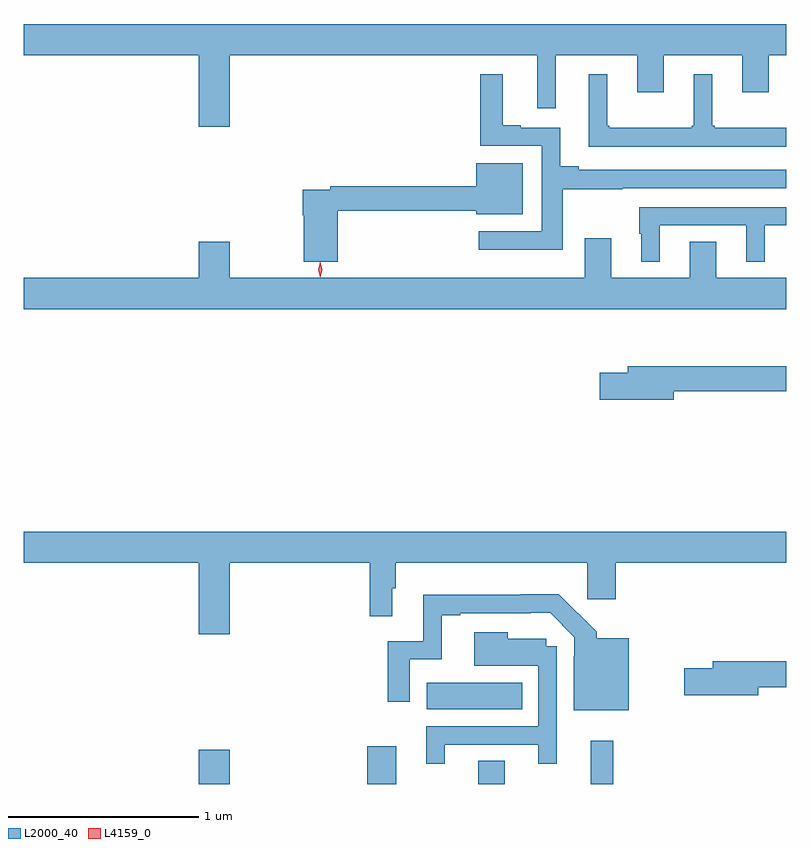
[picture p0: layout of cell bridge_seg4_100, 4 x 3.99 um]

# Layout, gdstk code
import gdstk
lib = gdstk.Library(unit=1e-6, precision=1e-09)
def R(c, l, rs):  # rectangles x0, y0, x1, y1
    for r in rs: c.add(gdstk.rectangle(r[:2], r[2:], *l))
def P(c, l, *ps):  # polygons
    for p in ps: c.add(gdstk.Polygon(p, *l))
L2000_40 = (2000, 40)
L4159_0 = (4159, 0)

bridge_seg4_100 = lib.new_cell('bridge_seg4_100')
R(bridge_seg4_100, L2000_40, [(392.78,800.988,392.944,801.169), (393.665,800.988,393.817,801.187), (394.247,800.988,394.387,801.11), (394.838,800.988,394.955,801.214), (393.978,801.38,394.478,801.52)])
P(bridge_seg4_100, L2000_40, [(392.944,804.812),(394.556,804.812),(394.556,804.534),(394.654,804.534),(394.654,804.812),(395.081,804.812),(395.081,804.618),(395.221,804.618),(395.221,804.812),(395.633,804.812),(395.633,804.618),(395.773,804.618),(395.773,804.812),(395.863,804.812),(395.863,804.976),(391.863,804.976),(391.863,804.812),(392.78,804.812),(392.78,804.438),(392.944,804.438)],
  [(395.863,804.431),(395.488,804.431),(395.488,804.442),(395.476,804.442),(395.476,804.712),(395.378,804.712),(395.378,804.442),(395.367,804.442),(395.367,804.431),(394.936,804.431),(394.936,804.442),(394.924,804.442),(394.924,804.712),(394.826,804.712),(394.826,804.333),(395.863,804.333)],
  [(394.69,804.109),(395.006,804.109),(395.006,804.114),(395.863,804.114),(395.863,804.21),(394.774,804.21),(394.774,804.23),(394.678,804.23),(394.678,804.432),(394.471,804.432),(394.471,804.445),(394.375,804.445),(394.375,804.712),(394.257,804.712),(394.257,804.336),(394.581,804.336),(394.581,803.889),(394.251,803.889),(394.251,803.792),(394.69,803.792)],
  [(393.509,803.997),(394.238,803.997),(394.238,803.978),(394.48,803.978),(394.48,804.244),(394.238,804.244),(394.238,804.125),(393.472,804.125),(393.472,804.105),(393.326,804.105),(393.326,803.972),(393.331,803.972),(393.331,803.729),(393.509,803.729)],
  [(395.2,803.919),(395.654,803.919),(395.654,803.729),(395.752,803.729),(395.752,803.919),(395.863,803.919),(395.863,804.015),(395.091,804.015),(395.091,803.876),(395.102,803.876),(395.102,803.729),(395.2,803.729)],
  [(395.863,803.644),(395.497,803.644),(395.497,803.834),(395.357,803.834),(395.357,803.644),(394.945,803.644),(394.945,803.851),(394.805,803.851),(394.805,803.644),(392.944,803.644),(392.944,803.833),(392.78,803.833),(392.78,803.644),(391.863,803.644),(391.863,803.48),(395.863,803.48)],
  [(395.272,803.05),(395.863,803.05),(395.863,803.179),(395.033,803.179),(395.033,803.145),(394.884,803.145),(394.884,803.003),(395.272,803.003)],
  [(392.944,802.148),(393.679,802.148),(393.679,801.867),(393.796,801.867),(393.796,802.016),(393.815,802.016),(393.815,802.148),(394.819,802.148),(394.819,801.957),(394.97,801.957),(394.97,802.148),(395.863,802.148),(395.863,802.312),(391.863,802.312),(391.863,802.148),(392.78,802.148),(392.78,801.774),(392.944,801.774)],
  [(395.038,801.754),(394.868,801.754),(394.868,801.787),(394.67,801.985),(394.471,801.985),(394.471,801.982),(393.959,801.982),(393.959,801.738),(393.772,801.738),(393.772,801.42),(393.888,801.42),(393.888,801.642),(394.057,801.642),(394.057,801.873),(394.153,801.873),(394.153,801.885),(394.523,801.885),(394.523,801.887),(394.625,801.887),(394.752,801.759),(394.752,801.659),(394.748,801.659),(394.748,801.374),(395.038,801.374)],
  [(394.072,801.195),(394.562,801.195),(394.562,801.093),(394.659,801.093),(394.659,801.711),(394.605,801.711),(394.605,801.751),(394.402,801.751),(394.402,801.784),(394.226,801.784),(394.226,801.608),(394.563,801.608),(394.563,801.291),(393.974,801.291),(393.974,801.093),(394.072,801.093)],
  [(395.716,801.496),(395.863,801.496),(395.863,801.632),(395.477,801.632),(395.477,801.596),(395.328,801.596),(395.328,801.454),(395.716,801.454)])
P(bridge_seg4_100, L4159_0, [(393.419,803.647),(393.419,803.647),(393.409,803.687),(393.419,803.727),(393.419,803.728),(393.419,803.727),(393.429,803.687),(393.419,803.647)])

lib.write_gds('bridge_seg4_100.gds')
